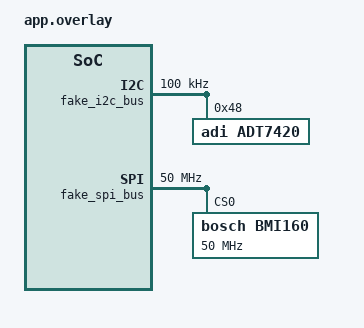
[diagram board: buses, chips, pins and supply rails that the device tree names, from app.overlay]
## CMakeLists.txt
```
cmake_minimum_required(VERSION 3.20.0)

find_package(Zephyr REQUIRED HINTS $ENV{ZEPHYR_BASE})
project(sensor_threads)

target_sources(app PRIVATE src/main.c)
```

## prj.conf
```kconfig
# One thread entry for two static threads, each bound to a sensor on
# its own emulated bus: the ADT7420 on I2C and the BMI160 on SPI.
CONFIG_I2C=y
CONFIG_SPI=y
CONFIG_SENSOR=y
CONFIG_EMUL=y
CONFIG_ADT7420=y
CONFIG_BMI160=y
CONFIG_BMI160_TRIGGER_NONE=y
CONFIG_EMUL_BMI160=y
CONFIG_INIT_STACKS=y
CONFIG_THREAD_STACK_INFO=y
CONFIG_STD_C23=y
CONFIG_GNU_C_EXTENSIONS=y
```

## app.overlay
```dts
/*
 * Copyright (c) 2026 JP Hutchins
 * SPDX-License-Identifier: MIT
 *
 * qemu_cortex_m3 has neither an I2C nor an SPI controller; emulated ones
 * host one sensor each, so the drivers run unchanged against software.
 */

#include <zephyr/dt-bindings/i2c/i2c.h>

/ {
	fake_i2c_bus: i2c@100 {
		status = "okay";
		compatible = "zephyr,i2c-emul-controller";
		clock-frequency = <I2C_BITRATE_STANDARD>;
		#address-cells = <1>;
		#size-cells = <0>;
		reg = <0x100 4>;

		adt7420: adt7420@48 {
			compatible = "adi,adt7420";
			reg = <0x48>;
			status = "okay";
		};
	};

	fake_spi_bus: spi@200 {
		status = "okay";
		compatible = "zephyr,spi-emul-controller";
		clock-frequency = <50000000>;
		#address-cells = <1>;
		#size-cells = <0>;
		reg = <0x200 4>;

		bmi160: bmi160@0 {
			compatible = "bosch,bmi160";
			spi-max-frequency = <50000000>;
			reg = <0>;
			status = "okay";
		};
	};
};
```

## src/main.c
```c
/*
 * Copyright (c) 2026 JP Hutchins
 * SPDX-License-Identifier: MIT
 */

#include <zephyr/device.h>
#include <zephyr/devicetree.h>
#include <zephyr/drivers/sensor.h>
#include <zephyr/kernel.h>
#include <zephyr/sys/printk.h>

struct sensor_binding {
	struct device const * const device;
	enum sensor_channel const channel;
};

static struct sensor_binding const thermal_binding = {
	.device = DEVICE_DT_GET(DT_NODELABEL(adt7420)),
	.channel = SENSOR_CHAN_AMBIENT_TEMP,
};

static struct sensor_binding const motion_binding = {
	.device = DEVICE_DT_GET(DT_NODELABEL(bmi160)),
	.channel = SENSOR_CHAN_ACCEL_XYZ,
};

static void sensor_thread(
	void * const binding_pointer,
	[[maybe_unused]] void * const unused2,
	[[maybe_unused]] void * const unused3
) {
	struct sensor_binding const * const binding = binding_pointer;
	struct sensor_value readings[3] = {};

	while (true) {
		sensor_sample_fetch(binding->device);
		sensor_channel_get(binding->device, binding->channel, readings);
	}
}

K_THREAD_DEFINE(thermal_tid, 1024, sensor_thread, &thermal_binding, nullptr, nullptr, 5, 0, 0);
K_THREAD_DEFINE(motion_tid, 1024, sensor_thread, &motion_binding, nullptr, nullptr, 5, 0, 0);

static void print_unused_stack(char const name[static 1], k_tid_t const thread) {
	size_t unused = 0;

	if (k_thread_stack_space_get(thread, &unused) == 0) {
		printk("%s unused %zu of %zu\n", name, unused, thread->stack_info.size);
	}
}

int main(void) {
	k_msleep(100);
	print_unused_stack("thermal_tid", thermal_tid);
	print_unused_stack("motion_tid", motion_tid);
	printk("done\n");
	return 0;
}
```
